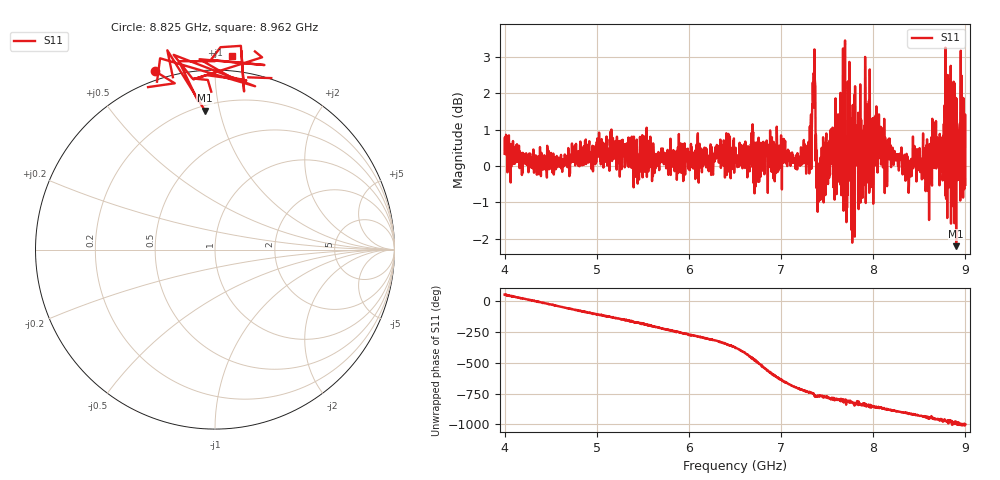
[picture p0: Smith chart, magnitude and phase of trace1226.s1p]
! Created with skrf 1.8.0 (http://scikit-rf.org).
# Hz S RI R 50.0
!freq ReS11 ImS11
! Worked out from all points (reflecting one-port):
!   1601 points, 4 GHz to 9 GHz, reference 50 ohm
!   lowest |S11| = -2.2 dB at 8.9 GHz (marker M1), VSWR 7.92, Z = 11.6 + j45.2 ohm
!   phase of S11 starts at 51 deg and turns -1051 deg over the sweep
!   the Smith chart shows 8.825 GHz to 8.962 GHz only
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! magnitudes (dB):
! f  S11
! 4 GHz  0.3
! 4.625 GHz  -0.2
! 5.25 GHz  -0.3
! 5.875 GHz  0.3
! 6.5 GHz  0.3
! 7.125 GHz  0.3
! 7.294 GHz  0.2
! 7.347 GHz  1.8
! 7.369 GHz  2.3
! 7.409 GHz  -0.1
! 7.538 GHz  0.2
! 7.591 GHz  1.9
! 7.669 GHz  1.4
! 7.703 GHz  -1.1
! 7.75 GHz  -0.4
! 7.775 GHz  0.9
! 7.8 GHz  -1.9
! 7.928 GHz  1.7
! 7.981 GHz  -0.6
! 8.05 GHz  0.9
! 8.375 GHz  0.1
! 8.45 GHz  0.3
! 8.612 GHz  0.6
! 8.656 GHz  0.9
! 8.816 GHz  -0.6
! 8.9 GHz  -2.2
! 8.972 GHz  0.6
! 9 GHz  -0.5
